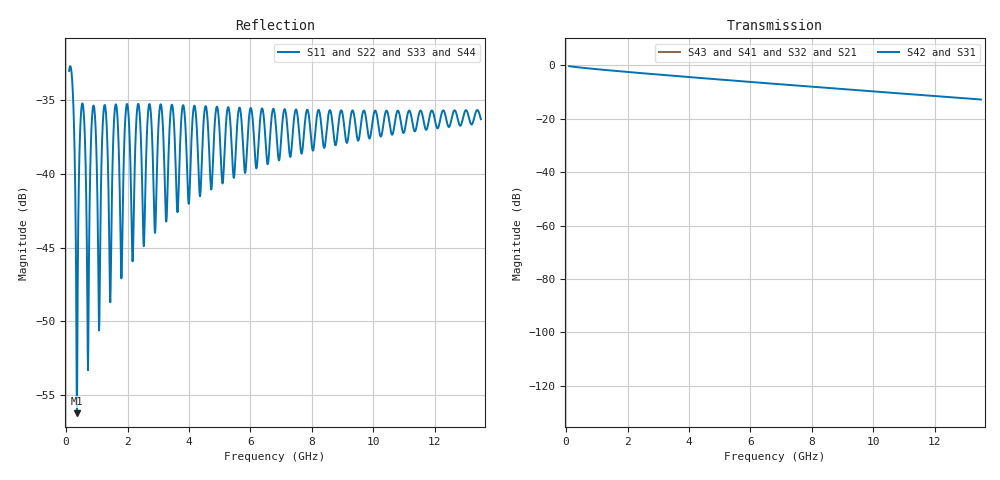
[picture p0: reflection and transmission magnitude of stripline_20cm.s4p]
! Touchstone generated by fitter/viewer
! HL_PORTMAP 1.0
! PORT  1  (PIN N1, Net001, S)
! PORT  2  (PIN N2, Net002, S)
! PORT  3  (PIN N3, Net001, S)
! PORT  4  (PIN N4, Net002, S)
! CONNECT 1, 3;
! CONNECT 2, 4;
! END_HL_PORTMAP
# HZ S  RI R 5.000000e+01
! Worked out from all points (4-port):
!   1351 points, 100 MHz to 13.5 GHz, reference 50 ohm
!   strongest paths, dB at 100 MHz, 3.445 GHz, 6.8 GHz, 10.15 GHz, 13.5 GHz:
!     S42: -0.3, -3.8, -6.9, -9.9, -12.8
!     S31: -0.3, -3.8, -6.9, -9.9, -12.8
!     S43: -, -, -, -, -
!     S41: -, -, -, -, -
!     S32: -, -, -, -, -
!     S21: -, -, -, -, -
!   lowest |S11| = -56.2 dB at 358.1 MHz (marker M1), VSWR 1.00, Z = 50.2 + j0.029 ohm
!   |S11| at or under -10 dB: start of sweep to end of sweep
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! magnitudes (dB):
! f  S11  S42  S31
! 100 MHz  -33.0  -0.3  -0.3
! 358.1 MHz  -56.2  -0.7  -0.7
! 526.8 MHz  -35.2  -0.9  -0.9
! 715.4 MHz  -53.3  -1.1  -1.1
! 894.1 MHz  -35.4  -1.3  -1.3
! 1.073 GHz  -50.6  -1.5  -1.5
! 13.5 GHz  -36.3  -12.8  -12.8
